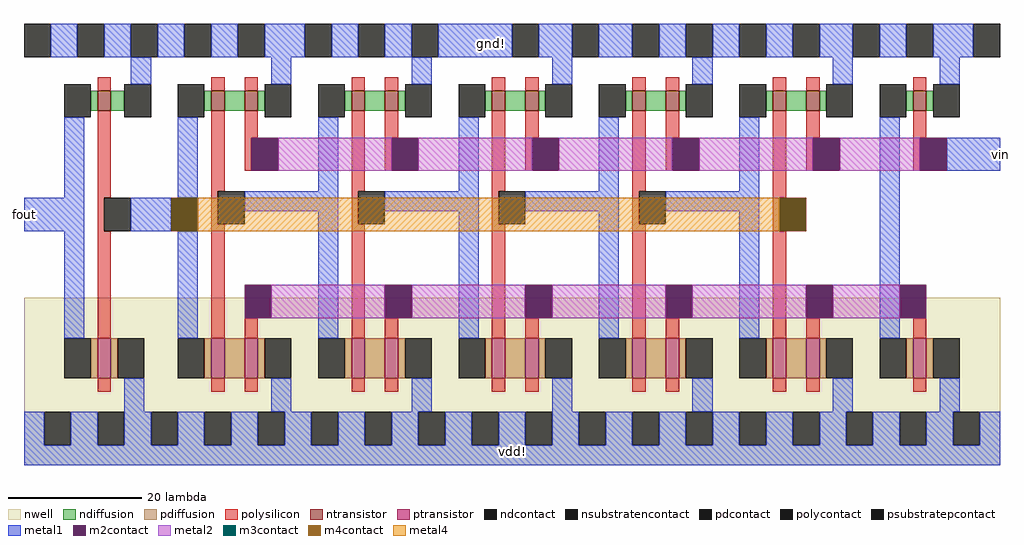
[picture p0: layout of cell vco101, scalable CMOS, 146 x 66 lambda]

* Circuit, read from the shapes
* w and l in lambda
.subckt vco101 fout gnd! vdd! vin
M1 gnd! n1 fout gnd! nfet w=3 l=2
M2 n2 n3 n1 gnd! nfet w=3 l=2
M3 gnd! vin n2 gnd! nfet w=3 l=2
M4 n4 n5 n3 gnd! nfet w=3 l=2
M5 gnd! vin n4 gnd! nfet w=3 l=2
M6 n6 n7 n5 gnd! nfet w=3 l=2
M7 gnd! vin n6 gnd! nfet w=3 l=2
M8 n8 n9 n7 gnd! nfet w=3 l=2
M9 gnd! vin n8 gnd! nfet w=3 l=2
M10 n10 n1 n9 gnd! nfet w=3 l=2
M11 gnd! vin n10 gnd! nfet w=3 l=2
M12 gnd! vin n11 gnd! nfet w=3 l=2
M13 vdd! n1 fout vdd! pfet w=6 l=2
M14 n12 n3 n1 vdd! pfet w=6 l=2
M15 vdd! n11 n12 vdd! pfet w=6 l=2
M16 n13 n5 n3 vdd! pfet w=6 l=2
M17 vdd! n11 n13 vdd! pfet w=6 l=2
M18 n14 n7 n5 vdd! pfet w=6 l=2
M19 vdd! n11 n14 vdd! pfet w=6 l=2
M20 n15 n9 n7 vdd! pfet w=6 l=2
M21 vdd! n11 n15 vdd! pfet w=6 l=2
M22 n16 n1 n9 vdd! pfet w=6 l=2
M23 vdd! n11 n16 vdd! pfet w=6 l=2
M24 vdd! n11 n11 vdd! pfet w=6 l=2
.ends

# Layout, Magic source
magic
tech scmos
<< nwell >>
rect 0 0 146 25
<< ntransistor >>
rect 11 53 13 56
rect 28 53 30 56
rect 33 53 35 56
rect 49 53 51 56
rect 54 53 56 56
rect 70 53 72 56
rect 75 53 77 56
rect 91 53 93 56
rect 96 53 98 56
rect 112 53 114 56
rect 117 53 119 56
rect 133 53 135 56
<< ptransistor >>
rect 11 13 13 19
rect 28 13 30 19
rect 33 13 35 19
rect 49 13 51 19
rect 54 13 56 19
rect 70 13 72 19
rect 75 13 77 19
rect 91 13 93 19
rect 96 13 98 19
rect 112 13 114 19
rect 117 13 119 19
rect 133 13 135 19
<< ndiffusion >>
rect 10 53 11 56
rect 13 53 15 56
rect 27 53 28 56
rect 30 53 33 56
rect 35 53 36 56
rect 48 53 49 56
rect 51 53 54 56
rect 56 53 57 56
rect 69 53 70 56
rect 72 53 75 56
rect 77 53 78 56
rect 90 53 91 56
rect 93 53 96 56
rect 98 53 99 56
rect 111 53 112 56
rect 114 53 117 56
rect 119 53 120 56
rect 132 53 133 56
rect 135 53 136 56
<< pdiffusion >>
rect 10 13 11 19
rect 13 13 14 19
rect 27 13 28 19
rect 30 13 33 19
rect 35 13 36 19
rect 48 13 49 19
rect 51 13 54 19
rect 56 13 57 19
rect 69 13 70 19
rect 72 13 75 19
rect 77 13 78 19
rect 90 13 91 19
rect 93 13 96 19
rect 98 13 99 19
rect 111 13 112 19
rect 114 13 117 19
rect 119 13 120 19
rect 132 13 133 19
rect 135 13 136 19
<< ndcontact >>
rect 6 52 10 57
rect 15 52 19 57
rect 23 52 27 57
rect 36 52 40 57
rect 44 52 48 57
rect 57 52 61 57
rect 65 52 69 57
rect 78 52 82 57
rect 86 52 90 57
rect 99 52 103 57
rect 107 52 111 57
rect 120 52 124 57
rect 128 52 132 57
rect 136 52 140 57
<< pdcontact >>
rect 6 13 10 19
rect 14 13 18 19
rect 23 13 27 19
rect 36 13 40 19
rect 44 13 48 19
rect 57 13 61 19
rect 65 13 69 19
rect 78 13 82 19
rect 86 13 90 19
rect 99 13 103 19
rect 107 13 111 19
rect 120 13 124 19
rect 128 13 132 19
rect 136 13 140 19
<< psubstratepcontact >>
rect 0 61 4 66
rect 8 61 12 66
rect 16 61 20 66
rect 24 61 28 66
rect 32 61 36 66
rect 42 61 46 66
rect 50 61 54 66
rect 58 61 62 66
rect 73 61 77 66
rect 82 61 86 66
rect 91 61 95 66
rect 99 61 103 66
rect 107 61 111 66
rect 115 61 119 66
rect 124 61 128 66
rect 132 61 136 66
rect 142 61 146 66
<< nsubstratencontact >>
rect 3 3 7 8
rect 11 3 15 8
rect 19 3 23 8
rect 27 3 31 8
rect 35 3 39 8
rect 43 3 47 8
rect 51 3 55 8
rect 59 3 63 8
rect 67 3 71 8
rect 75 3 79 8
rect 83 3 87 8
rect 91 3 95 8
rect 99 3 103 8
rect 107 3 111 8
rect 115 3 119 8
rect 123 3 127 8
rect 131 3 135 8
rect 139 3 143 8
<< polysilicon >>
rect 11 56 13 58
rect 11 40 13 53
rect 28 56 30 58
rect 33 56 35 58
rect 28 41 30 53
rect 33 49 35 53
rect 49 56 51 58
rect 54 56 56 58
rect 33 44 34 49
rect 49 41 51 53
rect 54 49 56 53
rect 70 56 72 58
rect 75 56 77 58
rect 54 44 55 49
rect 70 41 72 53
rect 75 49 77 53
rect 91 56 93 58
rect 96 56 98 58
rect 75 44 76 49
rect 91 41 93 53
rect 96 49 98 53
rect 112 56 114 58
rect 117 56 119 58
rect 96 44 97 49
rect 11 35 12 40
rect 28 36 29 41
rect 49 36 50 41
rect 70 36 71 41
rect 91 36 92 41
rect 112 40 114 53
rect 117 49 119 53
rect 133 56 135 58
rect 133 49 135 53
rect 117 44 118 49
rect 133 44 134 49
rect 11 19 13 35
rect 28 19 30 36
rect 33 19 35 22
rect 49 19 51 36
rect 54 19 56 22
rect 70 19 72 36
rect 75 19 77 22
rect 91 19 93 36
rect 112 35 113 40
rect 96 19 98 22
rect 112 19 114 35
rect 117 19 119 22
rect 133 19 135 22
rect 11 11 13 13
rect 28 11 30 13
rect 33 11 35 13
rect 49 11 51 13
rect 54 11 56 13
rect 70 11 72 13
rect 75 11 77 13
rect 91 11 93 13
rect 96 11 98 13
rect 112 11 114 13
rect 117 11 119 13
rect 133 11 135 13
<< polycontact >>
rect 34 44 38 49
rect 55 44 59 49
rect 76 44 80 49
rect 97 44 101 49
rect 12 35 16 40
rect 29 36 33 41
rect 50 36 54 41
rect 71 36 75 41
rect 92 36 96 41
rect 118 44 122 49
rect 134 44 138 49
rect 33 22 37 27
rect 54 22 58 27
rect 75 22 79 27
rect 113 35 117 40
rect 96 22 100 27
rect 117 22 121 27
rect 131 22 135 27
<< metal1 >>
rect 4 61 8 66
rect 12 61 16 66
rect 20 61 24 66
rect 28 61 32 66
rect 36 61 42 66
rect 46 61 50 66
rect 54 61 58 66
rect 62 61 73 66
rect 77 61 82 66
rect 86 61 91 66
rect 95 61 99 66
rect 103 61 107 66
rect 111 61 115 66
rect 119 61 124 66
rect 128 61 132 66
rect 136 61 142 66
rect 16 57 19 61
rect 37 57 40 61
rect 58 57 61 61
rect 79 57 82 61
rect 100 57 103 61
rect 121 57 124 61
rect 137 57 140 61
rect 6 40 9 52
rect 23 40 26 52
rect 44 41 47 52
rect 65 41 68 52
rect 86 41 89 52
rect 107 41 110 52
rect 0 35 9 40
rect 16 35 22 40
rect 33 38 47 41
rect 6 19 9 35
rect 23 19 26 35
rect 44 19 47 38
rect 54 38 68 41
rect 65 19 68 38
rect 75 38 89 41
rect 86 19 89 38
rect 96 38 110 41
rect 107 19 110 38
rect 128 19 131 52
rect 138 44 146 49
rect 15 8 18 13
rect 37 8 40 13
rect 58 8 61 13
rect 79 8 82 13
rect 100 8 103 13
rect 121 8 124 13
rect 137 8 140 13
rect 0 3 3 8
rect 7 3 11 8
rect 15 3 19 8
rect 23 3 27 8
rect 31 3 35 8
rect 39 3 43 8
rect 47 3 51 8
rect 55 3 59 8
rect 63 3 67 8
rect 71 3 75 8
rect 79 3 83 8
rect 87 3 91 8
rect 95 3 99 8
rect 103 3 107 8
rect 111 3 115 8
rect 119 3 123 8
rect 127 3 131 8
rect 135 3 139 8
rect 143 3 146 8
rect 0 0 146 3
<< m2contact >>
rect 34 44 38 49
rect 55 44 59 49
rect 76 44 80 49
rect 97 44 101 49
rect 118 44 122 49
rect 22 35 26 40
rect 33 22 37 27
rect 54 22 58 27
rect 75 22 79 27
rect 96 22 100 27
rect 113 35 117 40
rect 117 22 121 27
rect 134 44 138 49
rect 131 22 135 27
<< metal2 >>
rect 38 44 55 49
rect 59 44 76 49
rect 80 44 97 49
rect 101 44 118 49
rect 122 44 134 49
rect 37 22 54 27
rect 58 22 75 27
rect 79 22 96 27
rect 100 22 117 27
rect 121 22 131 27
<< m3contact >>
rect 22 35 26 40
rect 113 35 117 40
<< m4contact >>
rect 22 35 26 40
rect 113 35 117 40
<< metal4 >>
rect 26 35 113 40
<< labels >>
rlabel metal1 0 35 0 40 3 fout
rlabel metal1 146 44 146 49 7 vin
rlabel metal1 73 2 73 2 1 vdd!
rlabel metal1 70 63 70 63 5 gnd!
<< end >>
